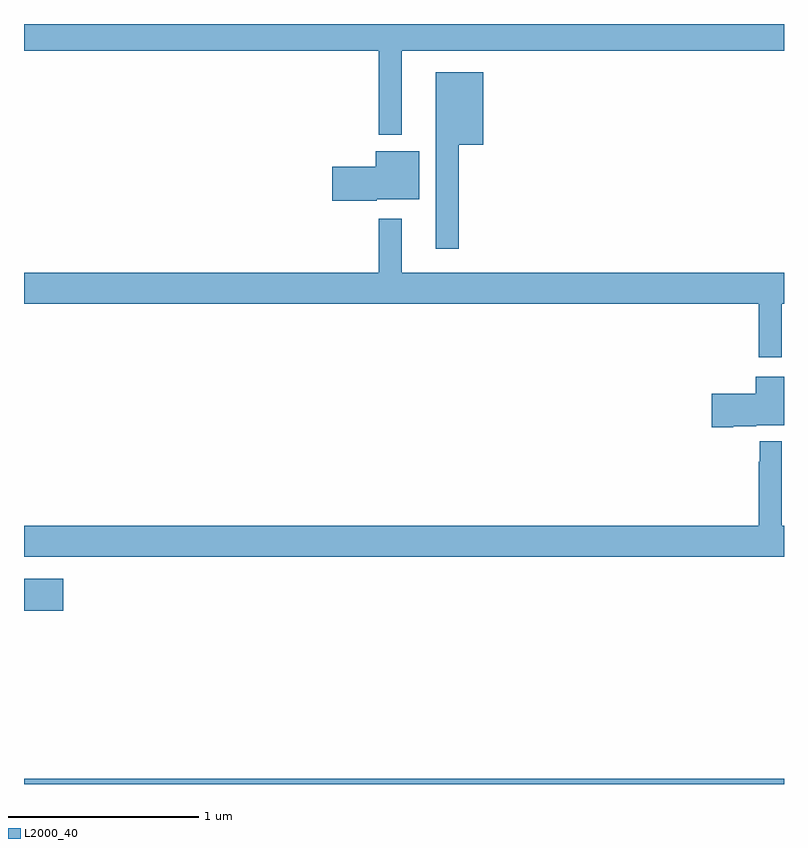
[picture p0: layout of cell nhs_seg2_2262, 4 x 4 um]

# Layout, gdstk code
import gdstk
lib = gdstk.Library(unit=1e-6, precision=1e-09)
def R(c, l, rs):  # rectangles x0, y0, x1, y1
    for r in rs: c.add(gdstk.rectangle(r[:2], r[2:], *l))
def P(c, l, *ps):  # polygons
    for p in ps: c.add(gdstk.Polygon(p, *l))
L2000_40 = (2000, 40)

nhs_seg2_2262 = lib.new_cell('nhs_seg2_2262')
R(nhs_seg2_2262, L2000_40, [(229,619.8,233,619.828), (229,620.711,229.207,620.881)])
P(nhs_seg2_2262, L2000_40, [(230.989,623.66),(233,623.66),(233,623.8),(229,623.8),(229,623.66),(230.868,623.66),(230.868,623.216),(230.989,623.216)],
  [(231.289,623.165),(231.418,623.165),(231.418,623.545),(231.167,623.545),(231.167,622.617),(231.289,622.617)],
  [(230.856,622.877),(231.079,622.877),(231.079,623.131),(230.852,623.131),(230.852,623.048),(230.622,623.048),(230.622,622.87),(230.856,622.87)],
  [(232.987,622.328),(233,622.328),(233,622.492),(230.989,622.492),(230.989,622.774),(230.868,622.774),(230.868,622.492),(229,622.492),(229,622.328),(232.866,622.328),(232.866,622.047),(232.987,622.047)],
  [(232.732,621.683),(232.854,621.683),(232.854,621.689),(233,621.689),(233,621.943),(232.85,621.943),(232.85,621.855),(232.62,621.855),(232.62,621.677),(232.732,621.677)],
  [(233,621.16),(232.987,621.16),(232.987,621.604),(232.873,621.604),(232.873,621.497),(232.866,621.497),(232.866,621.16),(229,621.16),(229,620.996),(233,620.996)])

lib.write_gds('nhs_seg2_2262.gds')
